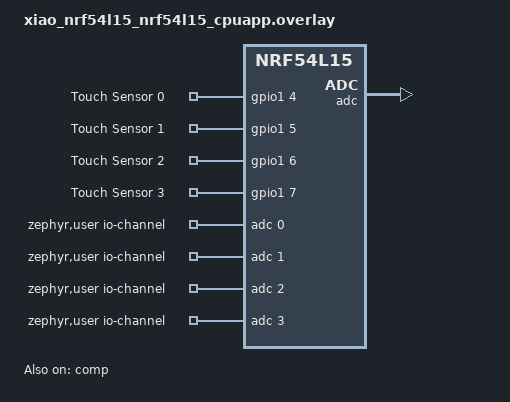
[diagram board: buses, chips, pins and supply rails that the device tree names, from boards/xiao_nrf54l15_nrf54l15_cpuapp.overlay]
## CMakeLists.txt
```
# SPDX-License-Identifier: Apache-2.0

cmake_minimum_required(VERSION 3.20.0)
find_package(Zephyr REQUIRED HINTS $ENV{ZEPHYR_BASE})
project(capacitive_touch)

target_sources(app PRIVATE src/main.c)
```

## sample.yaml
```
sample:
  name: Capacitive Touch Sample
  description: |
    Demonstrates capacitive touch sensing using the nRF54L15 COMP peripheral
    on pins D0-D3 of the Seeed Studio XIAO nRF54L15 board.
common:
  tags:
    - touch
    - sensors
    - comp
    - gpio
  depends_on: adc
  platform_allow: xiao_nrf54l15_nrf54l15_cpuapp
tests:
  sample.capacitive_touch:
    platform_allow: xiao_nrf54l15_nrf54l15_cpuapp
    tags:
      - touch
      - sensors
    extra_configs:
      - CONFIG_NRFX_COMP=y
      - CONFIG_ADC=y
```

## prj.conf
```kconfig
# Capacitive Touch Configuration

# Enable ADC for fallback touch detection
CONFIG_ADC=y

# Enable COMP peripheral for capacitive sensing
CONFIG_NRFX_COMP=y

# Enable GPIO for pin configuration  
CONFIG_GPIO=y

# Logging configuration
CONFIG_LOG=y
CONFIG_PRINTK=y
CONFIG_CONSOLE=y
CONFIG_UART_CONSOLE=y

# System configuration
CONFIG_MAIN_STACK_SIZE=2048
CONFIG_SYSTEM_WORKQUEUE_STACK_SIZE=1024

# Enable device tree overlay support
CONFIG_DT_HAS_NORDIC_NRF_COMP=y

# Interrupt configuration
CONFIG_IRQ_OFFLOAD=y

# Timer and timing
CONFIG_SYS_CLOCK_HW_CYCLES_PER_SEC=32768
```

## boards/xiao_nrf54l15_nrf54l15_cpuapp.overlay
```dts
/*
 * Device Tree Overlay for Capacitive Touch using COMP peripheral
 * 
 * This overlay configures the comparator peripheral for capacitive touch
 * sensing on D0-D3 pins (P1.04-P1.07 / AIN0-AIN3)
 */

/ {
    /* Define aliases for touch sensors */
    aliases {
        touch0 = &touch_sensor_0;
        touch1 = &touch_sensor_1;
        touch2 = &touch_sensor_2;
        touch3 = &touch_sensor_3;
    };

    /* Touch sensor definitions */
    touch_sensors {
        compatible = "gpio-keys";
        status = "okay";
        
        touch_sensor_0: touch_0 {
            gpios = <&gpio1 4 GPIO_ACTIVE_HIGH>;  /* D0 = P1.04 */
            label = "Touch Sensor 0";
        };
        
        touch_sensor_1: touch_1 {
            gpios = <&gpio1 5 GPIO_ACTIVE_HIGH>;  /* D1 = P1.05 */
            label = "Touch Sensor 1";
        };
        
        touch_sensor_2: touch_2 {
            gpios = <&gpio1 6 GPIO_ACTIVE_HIGH>;  /* D2 = P1.06 */
            label = "Touch Sensor 2";
        };
        
        touch_sensor_3: touch_3 {
            gpios = <&gpio1 7 GPIO_ACTIVE_HIGH>;  /* D3 = P1.07 */
            label = "Touch Sensor 3";
        };
    };

    /* User configuration for COMP channels */
    zephyr,user {
        /* Map analog input channels for capacitive touch sensing */
        io-channels = <&adc 0>, <&adc 1>, <&adc 2>, <&adc 3>;
    };
};

/* Enable and configure the COMP peripheral */
&comp {
    status = "okay";
    /* 
     * PSEL configuration for capacitive touch:
     * We'll configure this programmatically in the application
     * to switch between different analog input pins
     */
};

/* Enable ADC for reference measurements */
&adc {
    status = "okay";
};

/* Ensure GPIO1 is available for touch pin access */
&gpio1 {
    status = "okay";
};
```

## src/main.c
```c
/*
 * Capacitive Touch Sample using COMP Peripheral
 * 
 * This sample demonstrates capacitive touch sensing using the nRF54L15 COMP
 * peripheral on pins D0-D3 (P1.04-P1.07 / AIN0-AIN3).
 * 
 * The comparator is configured in single-ended mode for capacitive sensing.
 * Touch detection is based on voltage changes when a finger approaches/touches
 * the sensor pad.
 * 
 * Hardware connections:
 * - D0 (P1.04): Touch sensor pad 0
 * - D1 (P1.05): Touch sensor pad 1  
 * - D2 (P1.06): Touch sensor pad 2
 * - D3 (P1.07): Touch sensor pad 3
 * - Built-in LED: Visual feedback for touches
 */

#include <zephyr/kernel.h>
#include <zephyr/device.h>
#include <zephyr/drivers/gpio.h>
#include <zephyr/drivers/adc.h>
#include <zephyr/logging/log.h>
#include <hal/nrf_comp.h>
#include <nrfx_comp.h>

LOG_MODULE_REGISTER(capacitive_touch, LOG_LEVEL_INF);

// ============================================================================
// CONFIGURATION CONSTANTS
// ============================================================================

#define TOUCH_CHANNELS 4
#define TOUCH_THRESHOLD_MV 100    // Threshold in millivolts for touch detection
#define SAMPLE_INTERVAL_MS 50     // How often to sample touch sensors
#define TOUCH_DEBOUNCE_MS 100     // Debounce time for touch detection

// Capacitive touch configuration
#define COMP_HYST_50MV 2          // Hysteresis setting (50mV)
#define COMP_REF_VDD_DIV2 4       // Reference: VDD/2
#define COMP_SPEED_NORMAL 0       // Normal speed mode

// ============================================================================
// HARDWARE DEFINITIONS
// ============================================================================

// Built-in LED for visual feedback
static const struct gpio_dt_spec led = GPIO_DT_SPEC_GET(DT_ALIAS(led0), gpios);

// Touch sensor GPIO pins (for configuration)
static const struct gpio_dt_spec touch_pins[TOUCH_CHANNELS] = {
    GPIO_DT_SPEC_GET(DT_ALIAS(touch0), gpios),  // D0 (P1.04)
    GPIO_DT_SPEC_GET(DT_ALIAS(touch1), gpios),  // D1 (P1.05)  
    GPIO_DT_SPEC_GET(DT_ALIAS(touch2), gpios),  // D2 (P1.06)
    GPIO_DT_SPEC_GET(DT_ALIAS(touch3), gpios),  // D3 (P1.07)
};

// ADC channels for touch sensing  
static const struct adc_dt_spec adc_channels[] = {
    DT_FOREACH_PROP_ELEM(DT_PATH(zephyr_user), io_channels, DT_SPEC_AND_COMMA)
};

// ============================================================================
// GLOBAL VARIABLES
// ============================================================================

// COMP device handle
static const struct device *comp_dev;
static nrfx_comp_t comp_instance = NRFX_COMP_INSTANCE(0);

// Touch state tracking
static bool touch_state[TOUCH_CHANNELS] = {false};
static bool prev_touch_state[TOUCH_CHANNELS] = {false};
static int64_t last_touch_time[TOUCH_CHANNELS] = {0};

// Baseline values for each channel (calibrated at startup)
static uint16_t baseline_values[TOUCH_CHANNELS] = {0};

// Current ADC readings
static uint16_t current_readings[TOUCH_CHANNELS] = {0};

// ============================================================================
// COMP PERIPHERAL FUNCTIONS
// ============================================================================

/**
 * @brief COMP event handler callback
 * 
 * @param event COMP event type
 * @param context User context (channel number)
 */
static void comp_event_handler(nrfx_comp_evt_t const *event, void *context)
{
    uint32_t channel = (uint32_t)context;
    
    switch (event->type) {
        case NRFX_COMP_EVT_READY:
            LOG_DBG("COMP ready on channel %d", channel);
            break;
            
        case NRFX_COMP_EVT_DOWN:
            LOG_DBG("COMP down event on channel %d", channel);
            break;
            
        case NRFX_COMP_EVT_UP:
            LOG_DBG("COMP up event on channel %d", channel);
            break;
            
        case NRFX_COMP_EVT_CROSS:
            LOG_DBG("COMP cross event on channel %d", channel);
            break;
    }
}

/**
 * @brief Initialize COMP peripheral for capacitive touch
 * 
 * @return 0 on success, negative error code otherwise
 */
static int comp_init(void)
{
    nrfx_err_t err;
    
    // Get COMP device
    comp_dev = DEVICE_DT_GET(DT_NODELABEL(comp));
    if (!device_is_ready(comp_dev)) {
        LOG_ERR("COMP device not ready");
        return -ENODEV;
    }
    
    // Configure COMP for capacitive sensing
    nrfx_comp_config_t config = NRFX_COMP_DEFAULT_CONFIG;
    config.reference = NRF_COMP_REF_VDD;      // Use VDD as reference
    config.main_mode = NRF_COMP_MAIN_MODE_SE; // Single-ended mode
    config.threshold = {                      // Threshold configuration
        .th_down = 32,                        // Lower threshold (VDD * 32/63)
        .th_up = 33                           // Upper threshold (VDD * 33/63)
    };
    config.speed_mode = NRF_COMP_SP_MODE_Normal; // Normal speed
    config.hyst = NRF_COMP_HYST_50mV;         // 50mV hysteresis
    config.interrupt_priority = NRFX_COMP_DEFAULT_CONFIG_IRQ_PRIORITY;
    
    // Initialize COMP
    err = nrfx_comp_init(&comp_instance, &config, comp_event_handler);
    if (err != NRFX_SUCCESS) {
        LOG_ERR("Failed to initialize COMP: %d", err);
        return -EIO;
    }
    
    LOG_INF("COMP peripheral initialized for capacitive touch");
    return 0;
}

/**
 * @brief Configure COMP to read from specific analog input
 * 
 * @param ain_channel Analog input channel (0-3 for AIN0-AIN3)
 * @return 0 on success, negative error code otherwise
 */
static int comp_select_channel(uint8_t ain_channel)
{
    if (ain_channel >= TOUCH_CHANNELS) {
        return -EINVAL;
    }
    
    // Stop COMP if running
    nrfx_comp_stop();
    
    // Configure pin select for the desired AIN channel
    nrf_comp_input_select(NRF_COMP, (nrf_comp_input_t)ain_channel);
    
    return 0;
}

/**
 * @brief Start COMP measurement on selected channel
 * 
 * @return 0 on success, negative error code otherwise
 */
static int comp_start_measurement(void)
{
    nrfx_comp_start(0, NULL);  // Start with no context
    return 0;
}

/**
 * @brief Get COMP result
 * 
 * @return true if VIN+ > VIN-, false otherwise
 */
static bool comp_get_result(void)
{
    return nrf_comp_result_get(NRF_COMP) == NRF_COMP_RESULT_ABOVE;
}

// ============================================================================
// ADC HELPER FUNCTIONS
// ============================================================================

/**
 * @brief Read ADC value from specified channel
 * 
 * @param channel Channel index (0-3)
 * @param value Pointer to store the ADC reading
 * @return 0 on success, negative error code otherwise
 */
static int read_adc_channel(uint8_t channel, uint16_t *value)
{
    if (channel >= TOUCH_CHANNELS) {
        return -EINVAL;
    }
    
    struct adc_sequence sequence = {
        .buffer = value,
        .buffer_size = sizeof(*value),
        .resolution = adc_channels[channel].resolution,
    };
    
    int ret = adc_read_dt(&adc_channels[channel], &sequence);
    if (ret < 0) {
        LOG_ERR("Failed to read ADC channel %d: %d", channel, ret);
        return ret;
    }
    
    return 0;
}

// ============================================================================
// CAPACITIVE TOUCH FUNCTIONS
// ============================================================================

/**
 * @brief Calibrate baseline values for all touch channels
 * 
 * This function should be called at startup when no fingers are touching
 * the sensor pads to establish baseline reference values.
 * 
 * @return 0 on success, negative error code otherwise
 */
static int calibrate_touch_baselines(void)
{
    LOG_INF("Calibrating touch sensor baselines...");
    
    // Take multiple samples and average them for each channel
    const int samples = 10;
    
    for (int ch = 0; ch < TOUCH_CHANNELS; ch++) {
        uint32_t sum = 0;
        
        for (int i = 0; i < samples; i++) {
            uint16_t reading;
            int ret = read_adc_channel(ch, &reading);
            if (ret < 0) {
                return ret;
            }
            sum += reading;
            k_msleep(10);  // Small delay between samples
        }
        
        baseline_values[ch] = sum / samples;
        LOG_INF("Channel %d baseline: %d", ch, baseline_values[ch]);
    }
    
    LOG_INF("Touch sensor calibration complete");
    return 0;
}

/**
 * @brief Detect touch on specific channel using COMP
 * 
 * @param channel Channel to check (0-3)
 * @return true if touch detected, false otherwise
 */
static bool detect_touch_comp(uint8_t channel)
{
    if (channel >= TOUCH_CHANNELS) {
        return false;
    }
    
    // Configure COMP for this channel
    if (comp_select_channel(channel) < 0) {
        return false;
    }
    
    // Start measurement
    comp_start_measurement();
    
    // Give COMP time to settle (typically ~10us for nRF54L15)
    k_busy_wait(20);
    
    // Get result
    bool result = comp_get_result();
    
    // Stop COMP
    nrfx_comp_stop();
    
    return result;
}

/**
 * @brief Detect touch using ADC-based method as fallback
 * 
 * @param channel Channel to check (0-3)
 * @return true if touch detected, false otherwise
 */
static bool detect_touch_adc(uint8_t channel)
{
    if (channel >= TOUCH_CHANNELS) {
        return false;
    }
    
    uint16_t reading;
    if (read_adc_channel(channel, &reading) < 0) {
        return false;
    }
    
    current_readings[channel] = reading;
    
    // Touch detected if reading differs significantly from baseline
    int16_t delta = (int16_t)reading - (int16_t)baseline_values[channel];
    return (abs(delta) > (TOUCH_THRESHOLD_MV * 4095 / 3300)); // Convert mV to ADC counts
}

/**
 * @brief Process touch detection for all channels
 */
static void process_touch_detection(void)
{
    int64_t current_time = k_uptime_get();
    bool any_touch = false;
    
    for (int ch = 0; ch < TOUCH_CHANNELS; ch++) {
        // Try COMP-based detection first, fall back to ADC
        bool touch_detected = detect_touch_comp(ch);
        if (!touch_detected) {
            touch_detected = detect_touch_adc(ch);
        }
        
        // Debounce touch detection
        if (touch_detected != prev_touch_state[ch]) {
            if ((current_time - last_touch_time[ch]) > TOUCH_DEBOUNCE_MS) {
                touch_state[ch] = touch_detected;
                last_touch_time[ch] = current_time;
                
                if (touch_detected) {
                    LOG_INF("Touch detected on channel %d", ch);
                    any_touch = true;
                } else {
                    LOG_INF("Touch released on channel %d", ch);
                }
            }
        } else {
            touch_state[ch] = touch_detected;
        }
        
        prev_touch_state[ch] = touch_detected;
        
        if (touch_state[ch]) {
            any_touch = true;
        }
    }
    
    // Control LED based on any touch detection
    gpio_pin_set_dt(&led, any_touch ? 1 : 0);
}

/**
 * @brief Print current touch status
 */
static void print_touch_status(void)
{
    static int64_t last_print = 0;
    int64_t current_time = k_uptime_get();
    
    // Print status every 2 seconds
    if ((current_time - last_print) > 2000) {
        LOG_INF("Touch Status - D0:%s D1:%s D2:%s D3:%s",
               touch_state[0] ? "ON " : "OFF",
               touch_state[1] ? "ON " : "OFF", 
               touch_state[2] ? "ON " : "OFF",
               touch_state[3] ? "ON " : "OFF");
               
        LOG_INF("ADC Readings - D0:%d D1:%d D2:%d D3:%d",
               current_readings[0], current_readings[1],
               current_readings[2], current_readings[3]);
               
        last_print = current_time;
    }
}

// ============================================================================
// MAIN APPLICATION
// ============================================================================

int main(void)
{
    int ret;
    
    LOG_INF("Starting Capacitive Touch Sample");
    LOG_INF("nRF54L15 COMP-based touch sensing on D0-D3");
    
    // ========================================================================
    // Initialize LED
    // ========================================================================
    
    if (!gpio_is_ready_dt(&led)) {
        LOG_ERR("LED GPIO device not ready");
        return -ENODEV;
    }
    
    ret = gpio_pin_configure_dt(&led, GPIO_OUTPUT_INACTIVE);
    if (ret < 0) {
        LOG_ERR("Failed to configure LED pin: %d", ret);
        return ret;
    }
    
    LOG_INF("LED initialized on P2.0");
    
    // ========================================================================
    // Initialize Touch Sensor GPIO Pins
    // ========================================================================
    
    for (int i = 0; i < TOUCH_CHANNELS; i++) {
        if (!gpio_is_ready_dt(&touch_pins[i])) {
            LOG_ERR("Touch pin %d GPIO device not ready", i);
            return -ENODEV;
        }
        
        // Configure as analog input (high impedance)
        ret = gpio_pin_configure_dt(&touch_pins[i], GPIO_INPUT | GPIO_PULL_DOWN);
        if (ret < 0) {
            LOG_ERR("Failed to configure touch pin %d: %d", i, ret);
            return ret;
        }
    }
    
    LOG_INF("Touch sensor pins initialized (D0-D3)");
    
    // ========================================================================
    // Initialize ADC
    // ========================================================================
    
    for (int i = 0; i < TOUCH_CHANNELS; i++) {
        if (!adc_is_ready_dt(&adc_channels[i])) {
            LOG_ERR("ADC channel %d not ready", i);
            return -ENODEV;
        }
        
        ret = adc_channel_setup_dt(&adc_channels[i]);
        if (ret < 0) {
            LOG_ERR("Failed to setup ADC channel %d: %d", i, ret);
            return ret;
        }
    }
    
    LOG_INF("ADC channels initialized");
    
    // ========================================================================
    // Initialize COMP Peripheral
    // ========================================================================
    
    ret = comp_init();
    if (ret < 0) {
        LOG_ERR("Failed to initialize COMP peripheral");
        return ret;
    }
    
    // ========================================================================
    // Calibrate Touch Baselines
    // ========================================================================
    
    LOG_INF("Please ensure no fingers are touching sensor pads...");
    k_msleep(3000);  // Give user time to remove fingers
    
    ret = calibrate_touch_baselines();
    if (ret < 0) {
        LOG_ERR("Failed to calibrate touch baselines");
        return ret;
    }
    
    // ========================================================================
    // Main Touch Detection Loop
    // ========================================================================
    
    LOG_INF("Touch detection active - touch D0, D1, D2, or D3 pads");
    LOG_INF("LED will light up when any touch is detected");
    
    while (1) {
        // Process touch detection for all channels
        process_touch_detection();
        
        // Print periodic status
        print_touch_status();
        
        // Sleep until next sample interval
        k_msleep(SAMPLE_INTERVAL_MS);
    }
    
    return 0;
}
```
